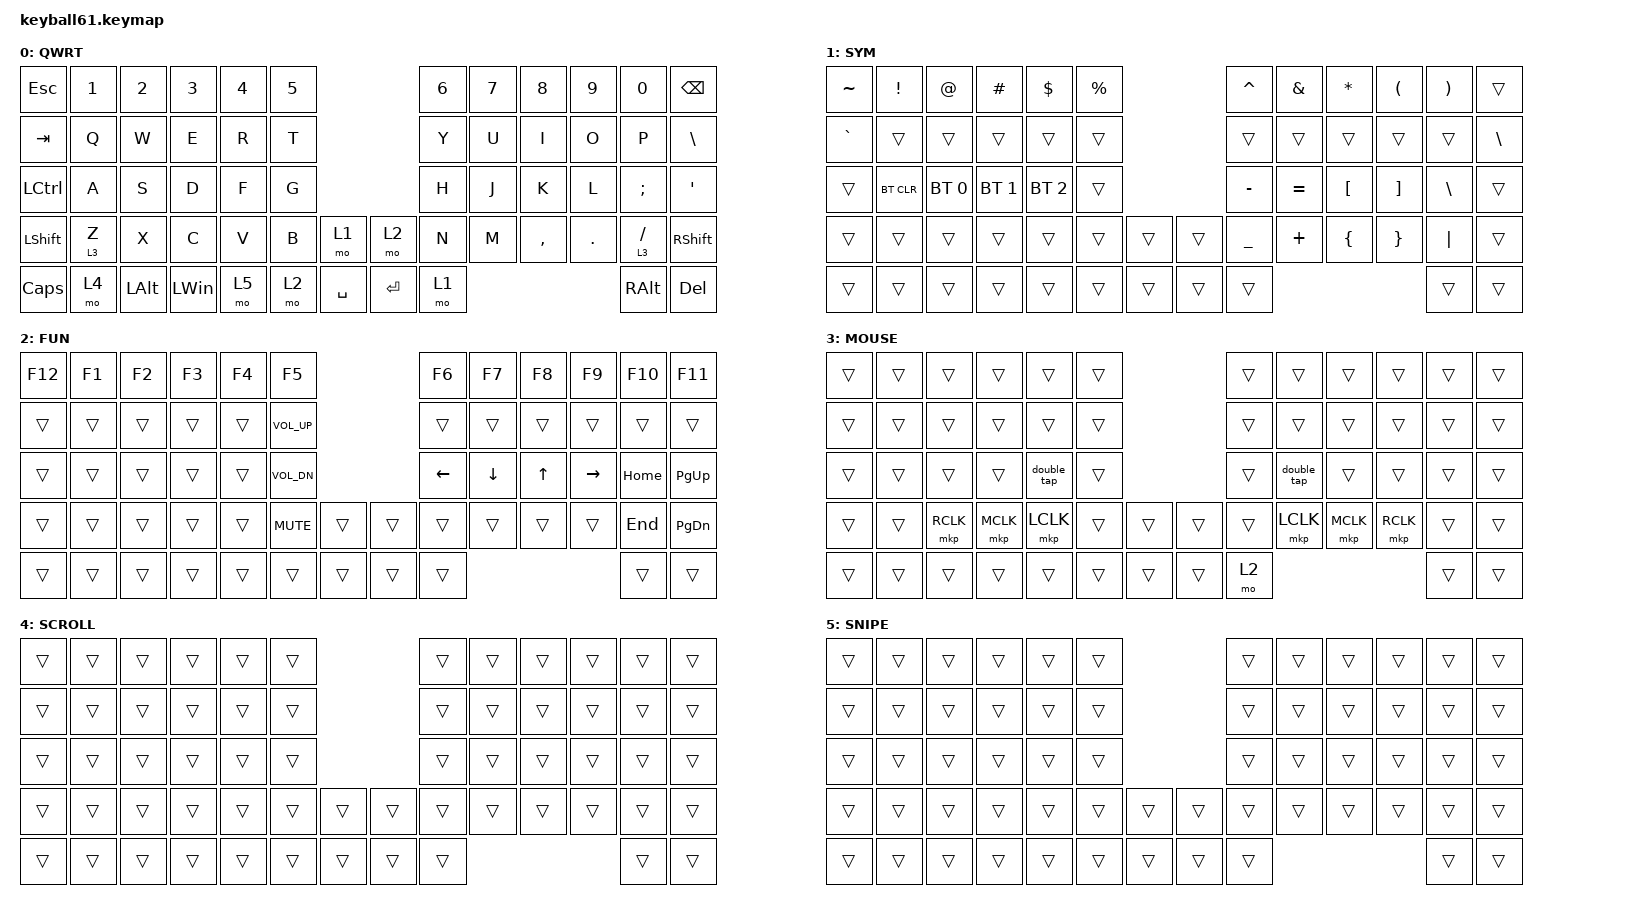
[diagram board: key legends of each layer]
#define DEFAULT 0
#define SYM     1
#define FUN     2
#define MOUSE   3
#define SCROLL  4
#define SNIPE   5

#include <behaviors/mouse_keys.dtsi>
#include <dt-bindings/zmk/mouse.h>
#include <behaviors.dtsi>
#include <dt-bindings/zmk/bt.h>
#include <dt-bindings/zmk/keys.h>
#include <dt-bindings/zmk/pointing.h>

&lt {
    tapping-term-ms = <240>;
    flavor = "balanced";
    quick-tap-ms = <150>;
};

&mt {
    tapping-term-ms = <200>;
    flavor = "tap-preferred";
    quick-tap-ms = <150>;
};

/ {
    macros {
        double_tap: double_tap {
            compatible = "zmk,behavior-macro";
            #binding-cells = <0>;
            bindings = <&mkp LCLK>, <&macro_wait_time 20>, <&mkp LCLK>;

            label = "DOUBLE_TAP";
        };
    };

    keymap {
        compatible = "zmk,keymap";

        default_layer {
            label = "QWRT";
            bindings = <
&kp ESC         &kp N1   &kp N2    &kp N3        &kp N4  &kp N5                        &kp N6  &kp N7  &kp N8     &kp N9   &kp N0         &kp BSPC
&kp TAB         &kp Q    &kp W     &kp E         &kp R   &kp T                         &kp Y   &kp U   &kp I      &kp O    &kp P          &kp BACKSLASH
&kp LCTRL       &kp A    &kp S     &kp D         &kp F   &kp G                         &kp H   &kp J   &kp K      &kp L    &kp SEMI       &kp SQT
&kp LEFT_SHIFT  &lt 3 Z  &kp X     &kp C         &kp V   &kp B   &mo 1      &mo 2      &kp N   &kp M   &kp COMMA  &kp DOT  &lt 3 SLASH    &kp RIGHT_SHIFT
&kp CAPS        &mo 4    &kp LALT  &kp LEFT_WIN  &mo 5   &mo 2   &kp SPACE  &kp ENTER  &mo 1                               &kp RIGHT_ALT  &kp DELETE
            >;
        };

        symbol_layer {
            label = "SYM";
            bindings = <
&kp TILDE  &kp EXCLAMATION  &kp AT_SIGN   &kp HASH      &kp DOLLAR    &kp PERCENT                  &kp CARET       &kp AMPERSAND  &kp ASTERISK      &kp LEFT_PARENTHESIS  &kp RIGHT_PARENTHESIS  &trans
&kp GRAVE  &trans           &trans        &trans        &trans        &trans                       &trans          &trans         &trans            &trans                &trans                 &kp BSLH
&trans     &bt BT_CLR       &bt BT_SEL 0  &bt BT_SEL 1  &bt BT_SEL 2  &trans                       &kp MINUS       &kp EQUAL      &kp LEFT_BRACKET  &kp RIGHT_BRACKET     &kp BSLH               &trans
&trans     &trans           &trans        &trans        &trans        &trans       &trans  &trans  &kp UNDERSCORE  &kp PLUS       &kp LBRC          &kp RBRC              &kp PIPE               &trans
&trans     &trans           &trans        &trans        &trans        &trans       &trans  &trans  &trans                                                                 &trans                 &trans
            >;
        };

        function_layer {
            label = "FUN";
            bindings = <
&kp F12  &kp F1  &kp F2  &kp F3  &kp F4  &kp F5                           &kp F6    &kp F7    &kp F8  &kp F9     &kp F10   &kp F11
&trans   &trans  &trans  &trans  &trans  &kp C_VOLUME_UP                  &trans    &trans    &trans  &trans     &trans    &trans
&trans   &trans  &trans  &trans  &trans  &kp C_VOL_DN                     &kp LEFT  &kp DOWN  &kp UP  &kp RIGHT  &kp HOME  &kp PG_UP
&trans   &trans  &trans  &trans  &trans  &kp C_MUTE       &trans  &trans  &trans    &trans    &trans  &trans     &kp END   &kp PG_DN
&trans   &trans  &trans  &trans  &trans  &trans           &trans  &trans  &trans                                 &trans    &trans
            >;
        };

        mouse_layer {
            label = "MOUSE";
            bindings = <
&trans  &trans  &trans     &trans     &trans       &trans                  &trans  &trans       &trans     &trans     &trans  &trans
&trans  &trans  &trans     &trans     &trans       &trans                  &trans  &trans       &trans     &trans     &trans  &trans
&trans  &trans  &trans     &trans     &double_tap  &trans                  &trans  &double_tap  &trans     &trans     &trans  &trans
&trans  &trans  &mkp RCLK  &mkp MCLK  &mkp LCLK    &trans  &trans  &trans  &trans  &mkp LCLK    &mkp MCLK  &mkp RCLK  &trans  &trans
&trans  &trans  &trans     &trans     &trans       &trans  &trans  &trans  &mo 2                                      &trans  &trans
            >;
        };

        scroll_layer {
            label = "SCROLL";
            bindings = <
&trans  &trans  &trans  &trans  &trans  &trans                  &trans  &trans  &trans  &trans  &trans  &trans
&trans  &trans  &trans  &trans  &trans  &trans                  &trans  &trans  &trans  &trans  &trans  &trans
&trans  &trans  &trans  &trans  &trans  &trans                  &trans  &trans  &trans  &trans  &trans  &trans
&trans  &trans  &trans  &trans  &trans  &trans  &trans  &trans  &trans  &trans  &trans  &trans  &trans  &trans
&trans  &trans  &trans  &trans  &trans  &trans  &trans  &trans  &trans                          &trans  &trans
            >;
        };

        snipe_layer {
            label = "SNIPE";
            bindings = <
&trans  &trans  &trans  &trans  &trans  &trans                  &trans  &trans  &trans  &trans  &trans  &trans
&trans  &trans  &trans  &trans  &trans  &trans                  &trans  &trans  &trans  &trans  &trans  &trans
&trans  &trans  &trans  &trans  &trans  &trans                  &trans  &trans  &trans  &trans  &trans  &trans
&trans  &trans  &trans  &trans  &trans  &trans  &trans  &trans  &trans  &trans  &trans  &trans  &trans  &trans
&trans  &trans  &trans  &trans  &trans  &trans  &trans  &trans  &trans                          &trans  &trans
            >;
        };
    };
};
